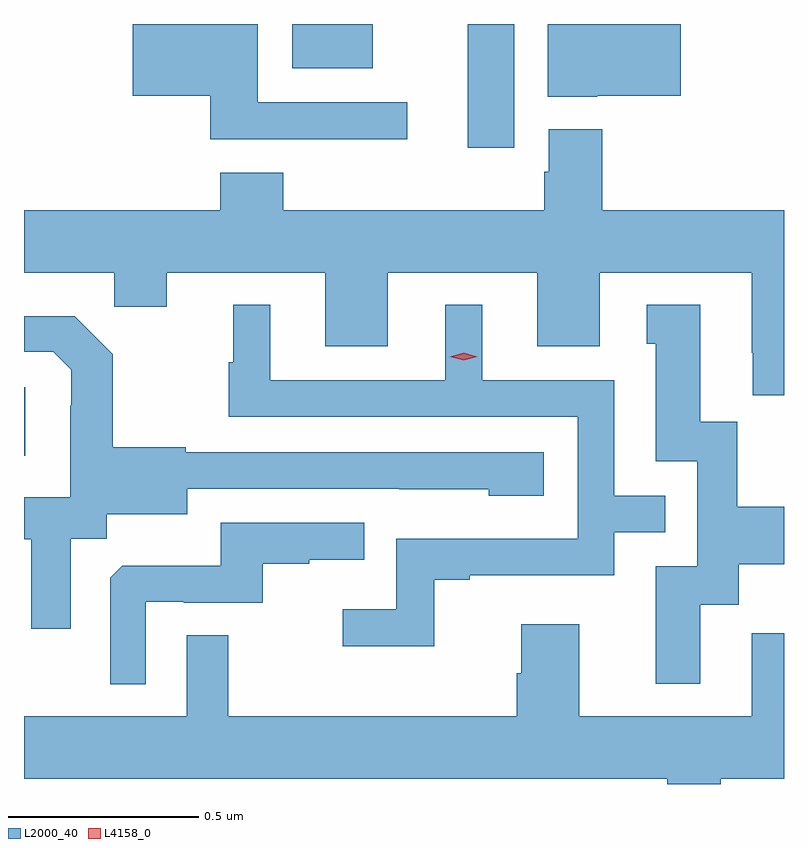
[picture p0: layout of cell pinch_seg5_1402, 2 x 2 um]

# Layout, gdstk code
import gdstk
lib = gdstk.Library(unit=1e-6, precision=1e-09)
def R(c, l, rs):  # rectangles x0, y0, x1, y1
    for r in rs: c.add(gdstk.rectangle(r[:2], r[2:], *l))
def P(c, l, *ps):  # polygons
    for p in ps: c.add(gdstk.Polygon(p, *l))
L2000_40 = (2000, 40)
L4158_0 = (4158, 0)

pinch_seg5_1402 = lib.new_cell('pinch_seg5_1402')
R(pinch_seg5_1402, L2000_40, [(276.97,902.898,276.973,903.078), (278.138,903.708,278.26,904.034), (277.676,903.917,277.888,904.034)])
P(pinch_seg5_1402, L2000_40, [(277.978,903.828),(277.585,903.828),(277.585,904.034),(277.256,904.034),(277.256,903.845),(277.46,903.845),(277.46,903.731),(277.978,903.731)],
  [(278.478,903.845),(278.698,903.845),(278.698,904.034),(278.348,904.034),(278.348,903.842),(278.478,903.842)],
  [(278.97,903.544),(278.492,903.544),(278.492,903.757),(278.351,903.757),(278.351,903.645),(278.339,903.645),(278.339,903.544),(277.652,903.544),(277.652,903.643),(277.487,903.643),(277.487,903.544),(276.97,903.544),(276.97,903.38),(277.207,903.38),(277.207,903.29),(277.345,903.29),(277.345,903.38),(277.763,903.38),(277.763,903.186),(277.927,903.186),(277.927,903.38),(278.321,903.38),(278.321,903.186),(278.485,903.186),(278.485,903.38),(278.885,903.38),(278.885,903.169),(278.888,903.169),(278.888,903.057),(278.97,903.057)],
  [(278.749,902.506),(278.851,902.506),(278.851,902.612),(278.97,902.612),(278.97,902.764),(278.847,902.764),(278.847,902.987),(278.749,902.987),(278.749,903.295),(278.609,903.295),(278.609,903.192),(278.633,903.192),(278.633,902.883),(278.742,902.883),(278.742,902.607),(278.633,902.607),(278.633,902.298),(278.749,902.298)],
  [(278.049,902.571),(278.143,902.571),(278.143,902.583),(278.523,902.583),(278.523,902.697),(278.657,902.697),(278.657,902.793),(278.523,902.793),(278.523,903.096),(278.176,903.096),(278.176,903.295),(278.078,903.295),(278.078,903.096),(277.618,903.096),(277.618,903.295),(277.52,903.295),(277.52,903.144),(277.509,903.144),(277.509,903),(278.427,903),(278.427,902.679),(277.95,902.679),(277.95,902.494),(277.809,902.494),(277.809,902.396),(278.049,902.396)],
  [(277.093,902.68),(277.188,902.68),(277.188,902.744),(277.399,902.744),(277.399,902.811),(277.957,902.811),(277.957,902.81),(278.193,902.81),(278.193,902.792),(278.338,902.792),(278.338,902.907),(277.395,902.907),(277.395,902.92),(277.203,902.92),(277.203,903.165),(277.103,903.265),(276.97,903.265),(276.97,903.171),(277.047,903.171),(277.094,903.124),(277.094,903.029),(277.092,903.029),(277.092,902.788),(276.97,902.788),(276.97,902.678),(276.989,902.678),(276.989,902.442),(277.093,902.442)],
  [(277.29,902.514),(277.39,902.514),(277.39,902.511),(277.598,902.511),(277.598,902.613),(277.721,902.613),(277.721,902.624),(277.865,902.624),(277.865,902.721),(277.488,902.721),(277.488,902.609),(277.229,902.609),(277.197,902.577),(277.197,902.297),(277.29,902.297)],
  [(278.803,902.048),(278.97,902.048),(278.97,902.431),(278.885,902.431),(278.885,902.212),(278.431,902.212),(278.431,902.455),(278.279,902.455),(278.279,902.325),(278.267,902.325),(278.267,902.212),(277.507,902.212),(277.507,902.426),(277.398,902.426),(277.398,902.212),(276.97,902.212),(276.97,902.048),(278.663,902.048),(278.663,902.034),(278.803,902.034)])
P(pinch_seg5_1402, L4158_0, [(278.127,903.149),(278.091,903.159),(278.091,903.159),(278.091,903.159),(278.127,903.169),(278.163,903.159),(278.163,903.159),(278.163,903.159)])

lib.write_gds('pinch_seg5_1402.gds')
